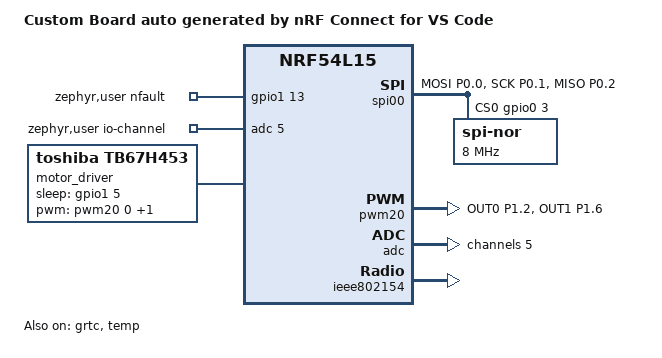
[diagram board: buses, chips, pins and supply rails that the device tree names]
/dts-v1/;
#include <nordic/nrf54l15_cpuapp.dtsi>
#include "minewsemi_custom1-pinctrl.dtsi"

/ {
	model = "Custom Board auto generated by nRF Connect for VS Code";
	compatible = "trencitos,minewsemi-custom1-cpuapp";

    aliases {
        motor0 = &motor_driver;
    };

	chosen {
		zephyr,code-partition = &slot0_partition;
		zephyr,sram = &cpuapp_sram;
		zephyr,flash = &cpuapp_rram;
		zephyr,storage = &storage_partition;
		zephyr,ieee802154 = &ieee802154;
	};

	zephyr,user {
		nfault-gpios = <&gpio1 13 0>;

		io-channels = <&adc 5>;
	};

    motor_driver: motor_driver {
        compatible = "toshiba,tb67h453";
        pwms = <&pwm20 0 PWM_MSEC(20) PWM_POLARITY_NORMAL>,
               <&pwm20 1 PWM_MSEC(20) PWM_POLARITY_NORMAL>;
        sleep-gpios = <&gpio1 5 GPIO_ACTIVE_HIGH>;
    };
};

&cpuapp_sram {
	status = "okay";
};

&grtc {
	owned-channels = <0 1 2 3 4 5 6 7 8 9 10 11>;
	/* Channels 7-11 reserved for Zero Latency IRQs, 3-4 for FLPR */
	child-owned-channels = <3 4 7 8 9 10 11>;
	status = "okay";
};

/*  Enable proper MPSL support needs TEMP Peripheral (for temperature compensation). Openthread needs it */
&temp {
	status = "okay";
};

&cpuapp_rram {
	partitions {
		compatible = "fixed-partitions";
		#address-cells = <1>;
		#size-cells = <1>;
		boot_partition: partition@0 {
			label = "mcuboot";
			reg = <0x0 DT_SIZE_K(64)>;
		};
		slot0_partition: partition@10000 {
			label = "image-0";
			reg = <0x10000 DT_SIZE_K(324)>;
		};
		slot0_ns_partition: partition@61000 {
			label = "image-0-nonsecure";
			reg = <0x61000 DT_SIZE_K(324)>;
		};
		slot1_partition: partition@b2000 {
			label = "image-1";
			reg = <0xb2000 DT_SIZE_K(324)>;
		};
		slot1_ns_partition: partition@103000 {
			label = "image-1-nonsecure";
			reg = <0x103000 DT_SIZE_K(324)>;
		};
		/* 32k from 0x154000 to 0x15bfff reserved for TF-M partitions */
		storage_partition: partition@15c000 {
			label = "storage";
			reg = <0x15c000 DT_SIZE_K(36)>;
		};
	};
};

&gpio1 {
	status = "okay";
};

&gpio0 {
	status = "okay";
};

&spi00 {
	status = "okay";
	pinctrl-0 = <&spi00_default>;
	pinctrl-1 = <&spi00_sleep>;
	pinctrl-names = "default", "sleep";
	cs-gpios = <&gpio0 3 0>;
	spi-nor@0 {
		compatible = "jedec,spi-nor";
		reg = <0x0>; /* Chip Select Index */
		spi-max-frequency = <8000000>;
		        /* Flash geometry: */
        size = <0x400000>; /* 4 MiB = 32 Mbit */


	};
};

&pinctrl {
	spi00_default: spi00_default {
		group1 {
			psels = <NRF_PSEL(SPIM_MOSI, 0, 0)>,
					<NRF_PSEL(SPIM_SCK, 0, 1)>,
					<NRF_PSEL(SPIM_MISO, 0, 2)>;
		};
	};

	spi00_sleep: spi00_sleep {
		group1 {
			psels = <NRF_PSEL(SPIM_MOSI, 0, 0)>,
					<NRF_PSEL(SPIM_MISO, 0, 2)>,
					<NRF_PSEL(SPIM_SCK, 0, 1)>;
		};
	};

	pwm20_default: pwm20_default {
		group1 {
			psels = <NRF_PSEL(PWM_OUT0, 1, 2)>, <NRF_PSEL(PWM_OUT1, 1, 6)>;
		};
	};

	pwm20_sleep: pwm20_sleep {
		group1 {
			psels = <NRF_PSEL(PWM_OUT0, 1, 2)>, <NRF_PSEL(PWM_OUT1, 1, 6)>;
		};
	};
};

pwm20: &pwm20 {
	status = "okay";
	pinctrl-0 = <&pwm20_default>;
	pinctrl-1 = <&pwm20_sleep>;
	pinctrl-names = "default", "sleep";
};

&adc {
	status = "okay";
	    #address-cells = <1>;
    #size-cells = <0>;
	channel@5 {
		reg = <5>;
		zephyr,gain = "ADC_GAIN_1_6";
		zephyr,reference = "ADC_REF_VDD_1";
		zephyr,acquisition-time = <0>;
	};
};

&gpio2 {
	status = "disabled";
};
&ieee802154 {
	status = "okay";
};

/* GPIOTE is needed for some GPIO functionality. My setup somehow requires it */
&gpiote20 {
	status = "okay";
};

&gpiote30 {
	status = "okay";
};

/* Clock control, evidently used for PWM */
&clock {
	status = "okay";
};

&ficr {
	status = "disabled";
};

&uicr {
	status = "disabled";
};
